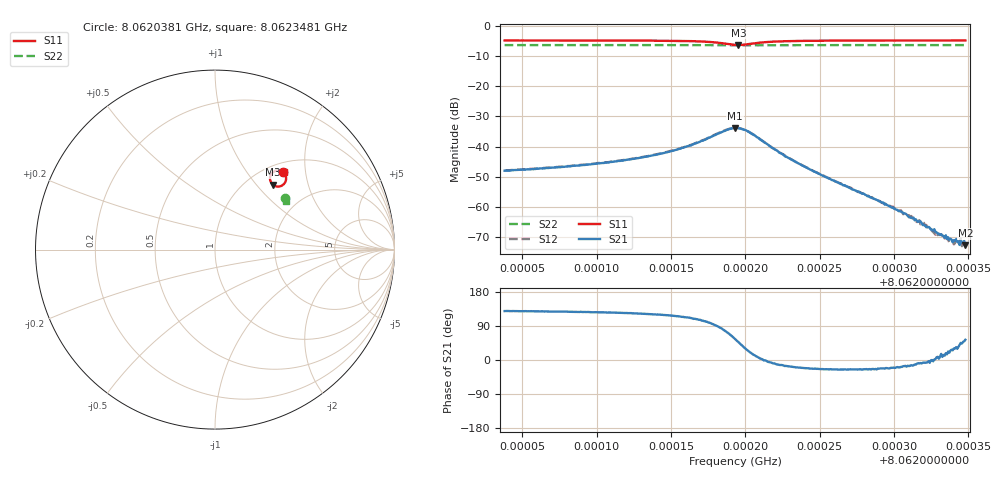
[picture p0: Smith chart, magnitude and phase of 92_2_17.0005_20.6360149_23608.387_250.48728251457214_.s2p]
#  HZ  S  RI  R  50.00
! Rohde & Schwarz Vector Network Analyzer
! Rohde-Schwarz,ZNB20-2Port,1311601062101988,3.16
! Created: UTC 3/20/2024, 10:56:10 PM
! freq[Hz]  re:S11  im:S11  re:S21  im:S21  re:S12  im:S12  re:S22  im:S22
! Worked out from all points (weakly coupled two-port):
!   401 points, 8.0620381 GHz to 8.0623481 GHz, reference 50 ohm
!   highest |S21| = -33.88 dB at 8.0621931 GHz (marker M1); lowest = -72.9 dB at 8.0623481 GHz (marker M2)
!   lowest |S11| = -6.3 dB at 8.0621954 GHz (marker M3), VSWR 2.88, Z = 64.7 + j61.3 ohm
!   |S11| at or under -10 dB: nowhere
!   |S22| runs from -6.4 to -6.3 dB; largest |S21 - S12| = 0.0014
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8.06203809e9  0.3792 0.4329  -0.0025 0.00308  -0.00236 0.00326  0.3873 0.2877
8.06209001e9  0.3849 0.4268  -0.00293 0.00392  -0.00276 0.00415  0.389 0.2851
8.06211713e9  0.3886 0.4216  -0.00327 0.00481  -0.00304 0.00508  0.3899 0.2835
8.06214193e9  0.393 0.4132  -0.00371 0.00649  -0.00335 0.00683  0.3909 0.2819
8.06216208e9  0.3961 0.3985  -0.00381 0.00951  -0.00322 0.0099  0.3913 0.2802
8.0621768e9  0.391 0.3751  -0.00174 0.0142  -0.000893 0.0145  0.3912 0.2787
8.06218687e9  0.3653 0.3534  0.00461 0.018  0.00587 0.0179  0.3901 0.2778
8.06219307e9  0.3335 0.3548  0.0114 0.0167  0.0126 0.0161  0.389 0.278
8.0621954e9  0.3219 0.3622  0.0137 0.0147  0.0148 0.0139  0.3887 0.2783
8.0622016e9  0.3065 0.3926  0.0162 0.00765  0.0168 0.0066  0.3887 0.2797
8.06221322e9  0.323 0.4308  0.0115 -0.000201  0.0116 -0.00119  0.3903 0.2805
8.06222794e9  0.3459 0.4405  0.00645 -0.00185  0.00638 -0.00227  0.392 0.2799
8.06224499e9  0.3596 0.4404  0.00368 -0.00154  0.00361 -0.00181  0.3931 0.2789
8.06229691e9  0.3756 0.4344  0.000941 -0.000389  0.000943 -0.000442  0.3952 0.276
8.06230698e9  0.3773 0.4333  0.000751 -0.000217  0.000712 -0.000273  0.3957 0.2754
8.06231473e9  0.3785 0.4326  0.000605 -0.000129  0.000552 -0.000174  0.396 0.275
8.06232016e9  0.3792 0.4323  0.000494 -6.04e-05  0.000529 -0.000101  0.3959 0.2748
8.06232636e9  0.3799 0.4316  0.000404 -2.4e-05  0.00038 -2.81e-05  0.3964 0.2745
8.06233178e9  0.3807 0.4311  0.000335 9.69e-05  0.00035 3.08e-05  0.3964 0.2742
8.06233875e9  0.3814 0.4307  0.000252 0.00013  0.000253 7.51e-05  0.3967 0.2737
8.0623434e9  0.3819 0.4303  0.000219 0.000153  0.000218 0.000129  0.397 0.2736
8.06234805e9  0.3824 0.4299  0.000136 0.000183  0.000147 0.000194  0.397 0.2733
